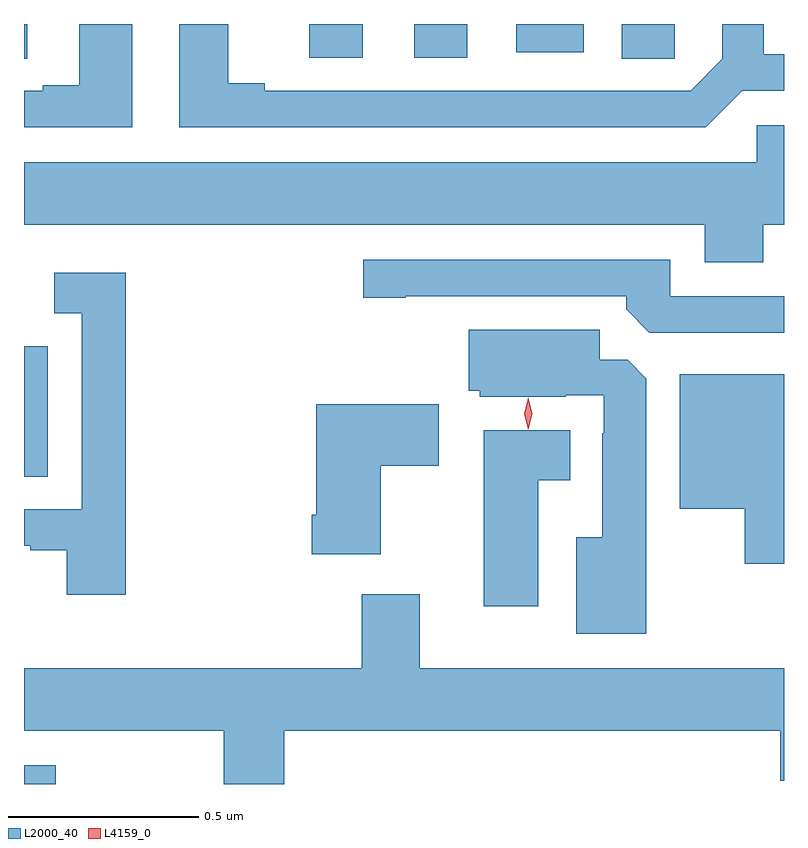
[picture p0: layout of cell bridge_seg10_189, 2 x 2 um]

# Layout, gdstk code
import gdstk
lib = gdstk.Library(unit=1e-6, precision=1e-09)
def R(c, l, rs):  # rectangles x0, y0, x1, y1
    for r in rs: c.add(gdstk.rectangle(r[:2], r[2:], *l))
def P(c, l, *ps):  # polygons
    for p in ps: c.add(gdstk.Polygon(p, *l))
L2000_40 = (2000, 40)
L4159_0 = (4159, 0)

bridge_seg10_189 = lib.new_cell('bridge_seg10_189')
R(bridge_seg10_189, L2000_40, [(157.471,1281.528,157.555,1281.577), (157.471,1282.336,157.534,1282.68), (157.471,1283.437,157.479,1283.528), (159.044,1283.437,159.183,1283.528), (158.222,1283.439,158.362,1283.528), (158.498,1283.439,158.638,1283.528), (158.766,1283.454,158.944,1283.528)])
P(bridge_seg10_189, L2000_40, [(157.756,1283.528),(157.616,1283.528),(157.616,1283.367),(157.52,1283.367),(157.52,1283.352),(157.471,1283.352),(157.471,1283.256),(157.756,1283.256)],
  [(159.361,1283.352),(159.471,1283.352),(159.471,1283.449),(159.418,1283.449),(159.418,1283.528),(159.309,1283.528),(159.309,1283.436),(159.225,1283.352),(158.104,1283.352),(158.104,1283.372),(158.008,1283.372),(158.008,1283.528),(157.88,1283.528),(157.88,1283.256),(159.265,1283.256)],
  [(159.416,1283),(159.471,1283),(159.471,1283.262),(159.399,1283.262),(159.399,1283.164),(157.471,1283.164),(157.471,1283),(159.263,1283),(159.263,1282.901),(159.416,1282.901)],
  [(159.471,1282.812),(159.171,1282.812),(159.171,1282.908),(158.364,1282.908),(158.364,1282.807),(158.476,1282.807),(158.476,1282.812),(159.056,1282.812),(159.056,1282.778),(159.117,1282.716),(159.471,1282.716)],
  [(157.739,1282.873),(157.551,1282.873),(157.551,1282.767),(157.623,1282.767),(157.623,1282.251),(157.471,1282.251),(157.471,1282.155),(157.487,1282.155),(157.487,1282.143),(157.583,1282.143),(157.583,1282.026),(157.739,1282.026)],
  [(159.109,1282.595),(159.06,1282.644),(158.986,1282.644),(158.986,1282.723),(158.642,1282.723),(158.642,1282.563),(158.67,1282.563),(158.67,1282.547),(158.897,1282.547),(158.897,1282.551),(158.997,1282.551),(158.997,1282.451),(158.993,1282.451),(158.993,1282.177),(158.924,1282.177),(158.924,1281.923),(159.109,1281.923)],
  [(159.471,1282.606),(159.197,1282.606),(159.197,1282.253),(159.368,1282.253),(159.368,1282.107),(159.471,1282.107)],
  [(158.41,1282.366),(158.563,1282.366),(158.563,1282.528),(158.24,1282.528),(158.24,1282.237),(158.228,1282.237),(158.228,1282.133),(158.41,1282.133)],
  [(158.824,1282.328),(158.908,1282.328),(158.908,1282.459),(158.681,1282.459),(158.681,1281.996),(158.824,1281.996)],
  [(158.156,1281.668),(159.461,1281.668),(159.461,1281.537),(159.471,1281.537),(159.471,1281.832),(158.512,1281.832),(158.512,1282.027),(158.36,1282.027),(158.36,1281.832),(157.471,1281.832),(157.471,1281.668),(157.996,1281.668),(157.996,1281.528),(158.156,1281.528)])
P(bridge_seg10_189, L4159_0, [(158.798,1282.461),(158.798,1282.462),(158.788,1282.503),(158.798,1282.544),(158.798,1282.544),(158.798,1282.544),(158.808,1282.503),(158.798,1282.462)])

lib.write_gds('bridge_seg10_189.gds')
